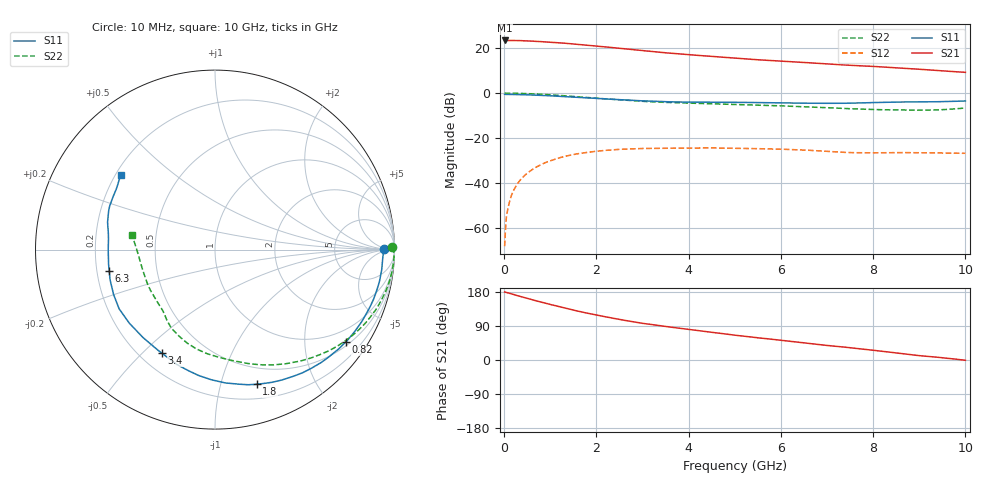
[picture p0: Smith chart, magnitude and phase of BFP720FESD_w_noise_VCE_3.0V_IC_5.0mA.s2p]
! Infineon Technologies  Discrete & RF Semiconductors
! BFP720FESD
! VCE =  3.0 V,  IC =  5.0 mA
! Common Emitter S-Parameters:  Jan 2016
# GHz  S  MA  R  50
!  f  S11  S21  S12  S22
! GHz  MAG  ANG  MAG  ANG  MAG  ANG  MAG  ANG
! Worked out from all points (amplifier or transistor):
!   233 points, 10 MHz to 10 GHz, reference 50 ohm
!   highest |S21| = 23.4 dB at 10 MHz (marker M1)
!   |S21| within 3 dB of that: start of sweep to 2.264 GHz
!   unconditionally stable (mu >= 1): 7.135 GHz to end of sweep
!   at 200 MHz: K = 0.03, MSG = 33.4 dB, |S12| = -43.3 dB
!   at 1.74 GHz: K = 0.19, MSG = 23.9 dB, |S12| = -26.5 dB
!   at 10 GHz: K = 1.48, MAG = 13.9 dB, |S12| = -26.7 dB
!   lowest NFmin = 0.52 dB at 450 MHz
!   S11 on the Smith chart (normalised r, x): 10 MHz: 32, +1; 820 MHz: 0.60, -3.03; 1.8 GHz: 0.33, -1.30; 3.4 GHz: 0.29, -0.57; 6.3 GHz: 0.25, -0.09; 10 GHz: 0.22, +0.33
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0.01  0.9401 0.1  14.78 179.4  0.0004 77.2  0.989 0.7
0.05  0.9366 -2.1  14.67 178.0  0.0018 84.7  0.9979 -1.4
0.19  0.9344 -8.4  14.77 173.4  0.0065 84.1  0.9955 -5.7
0.5  0.9178 -21.9  14.46 162.6  0.0167 76.1  0.9759 -14.8
0.6  0.911 -26.1  14.29 159.1  0.0198 73.3  0.9662 -17.7
0.82  0.8918 -35.3  13.88 152.2  0.0265 67.4  0.9418 -23.9
1.22  0.8497 -51.6  13.05 139.8  0.0372 57.2  0.8873 -34.9
1.4  0.8288 -58.6  12.62 134.5  0.0413 52.8  0.8597 -39.7
1.68  0.7978 -68.7  11.93 126.7  0.0465 46.4  0.8175 -46.6
1.8  0.7855 -72.8  11.59 123.6  0.0484 43.9  0.8004 -49.5
2.2  0.7451 -85.6  10.62 113.9  0.0536 36.2  0.7462 -58.6
2.6  0.7067 -97.6  9.693 104.9  0.0572 29.3  0.6975 -67.1
3  0.6743 -108.4  8.818 96.8  0.059 23.2  0.6568 -74.6
3.4  0.6486 -117.1  8.04 90.2  0.0596 18.9  0.6292 -80.2
4  0.6332 -129.3  7.153 80.7  0.0604 13.6  0.6012 -87.7
4.4  0.6285 -137.3  6.66 74.6  0.0606 10.2  0.5848 -93.0
5.1  0.625 -149.8  5.884 64.2  0.0596 4.8  0.5581 -101.9
6.3  0.6011 -168.7  4.928 48.0  0.0555 -2.3  0.5083 -116.4
6.8  0.5951 -176.7  4.588 41.2  0.0524 -4.0  0.4854 -122.2
8.4  0.6303 160.1  3.712 20.1  0.0478 0.8  0.4252 -147.7
9  0.6395 152.8  3.393 11.5  0.0475 0.8  0.4186 -163.6
10  0.6703 141.7  2.896 -0.7  0.0461 2.6  0.4679 170.3
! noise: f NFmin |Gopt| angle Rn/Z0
0.45  0.52  0.56  4  0.15
2.4  0.64  0.36  32  0.16
5.5  0.83  0.39  106  0.11
10  1.39  0.32  -163  0.09
